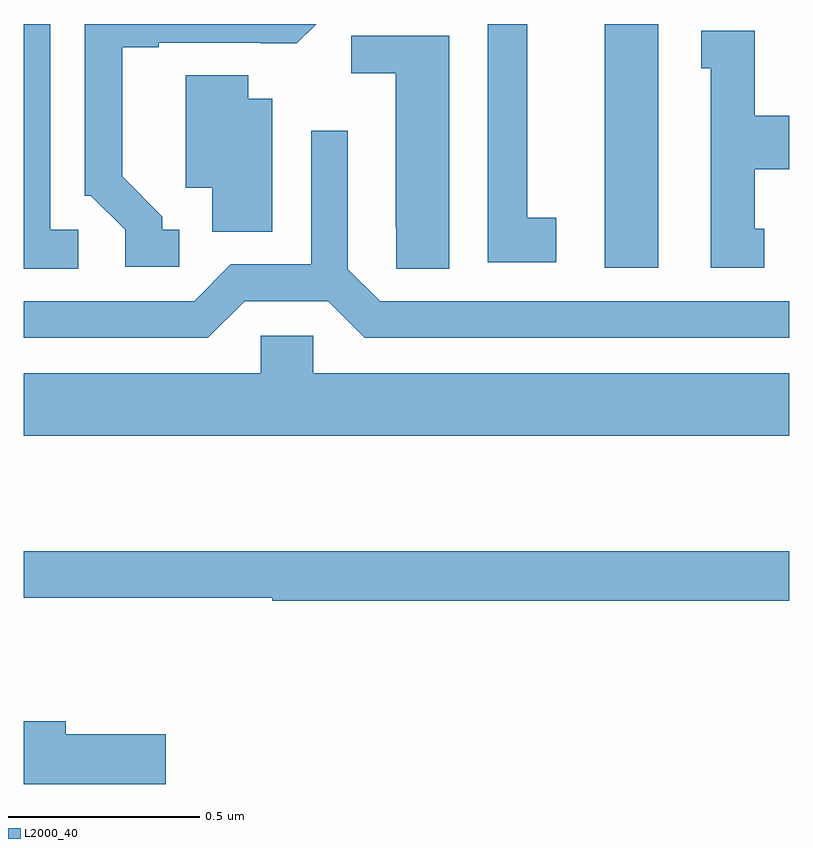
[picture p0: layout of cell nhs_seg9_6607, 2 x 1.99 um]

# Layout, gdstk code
import gdstk
lib = gdstk.Library(unit=1e-6, precision=1e-09)
def R(c, l, rs):  # rectangles x0, y0, x1, y1
    for r in rs: c.add(gdstk.rectangle(r[:2], r[2:], *l))
def P(c, l, *ps):  # polygons
    for p in ps: c.add(gdstk.Polygon(p, *l))
L2000_40 = (2000, 40)

nhs_seg9_6607 = lib.new_cell('nhs_seg9_6607')
R(nhs_seg9_6607, L2000_40, [(195.518,1192.863,195.658,1193.5)])
P(nhs_seg9_6607, L2000_40, [(194.407,1192.962),(194.362,1192.962),(194.362,1192.997),(194.257,1193.102),(194.257,1193.439),(194.353,1193.439),(194.353,1193.451),(194.618,1193.451),(194.618,1193.45),(194.714,1193.45),(194.764,1193.5),(194.16,1193.5),(194.16,1193.052),(194.175,1193.052),(194.265,1192.962),(194.265,1192.866),(194.407,1192.866)],
  [(195.391,1192.994),(195.316,1192.994),(195.316,1193.5),(195.212,1193.5),(195.212,1192.878),(195.391,1192.878)],
  [(194.143,1192.962),(194.07,1192.962),(194.07,1193.5),(194,1193.5),(194,1192.861),(194.143,1192.861)],
  [(195.934,1192.965),(195.91,1192.965),(195.91,1193.12),(196,1193.12),(196,1193.26),(195.91,1193.26),(195.91,1193.483),(195.77,1193.483),(195.77,1193.385),(195.794,1193.385),(195.794,1192.863),(195.934,1192.863)],
  [(195.112,1193.469),(194.856,1193.469),(194.856,1193.372),(194.972,1193.372),(194.972,1192.969),(194.973,1192.969),(194.973,1192.861),(195.112,1192.861)],
  [(194.65,1193.305),(194.587,1193.305),(194.587,1193.366),(194.423,1193.366),(194.423,1193.072),(194.492,1193.072),(194.492,1192.957),(194.65,1192.957)],
  [(194.577,1192.776),(194.795,1192.776),(194.891,1192.68),(196,1192.68),(196,1192.776),(194.931,1192.776),(194.847,1192.86),(194.847,1193.221),(194.751,1193.221),(194.751,1192.872),(194.541,1192.872),(194.445,1192.776),(194,1192.776),(194,1192.68),(194.481,1192.68)],
  [(196,1192.588),(194.757,1192.588),(194.757,1192.686),(194.619,1192.686),(194.619,1192.588),(194,1192.588),(194,1192.424),(196,1192.424)],
  [(196,1192.123),(194,1192.123),(194,1192.002),(194.65,1192.002),(194.65,1191.994),(196,1191.994)],
  [(194.371,1191.645),(194.11,1191.645),(194.11,1191.679),(194,1191.679),(194,1191.515),(194.371,1191.515)])

lib.write_gds('nhs_seg9_6607.gds')
